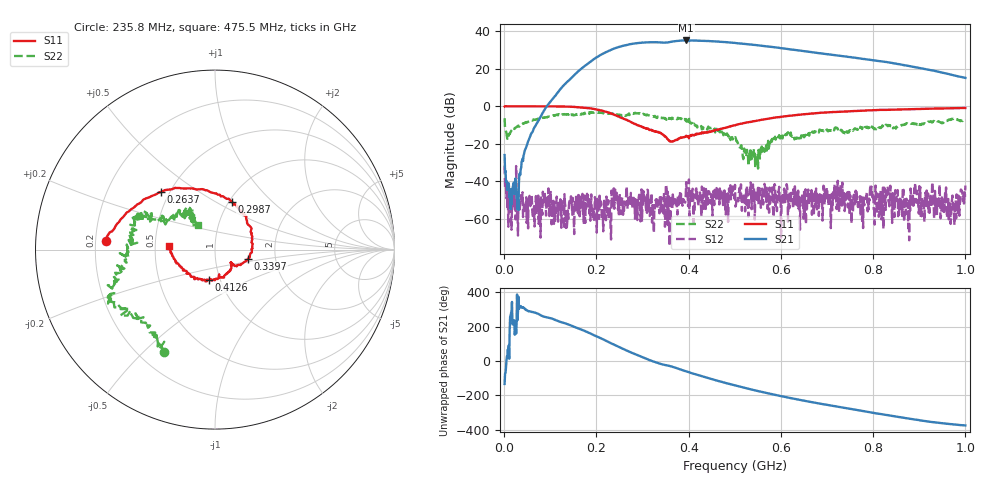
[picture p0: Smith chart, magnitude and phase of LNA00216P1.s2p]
! Created with skrf 1.9.0 (http://scikit-rf.org).
# Hz S RI R 50.0
!freq ReS11 ImS11 ReS21 ImS21 ReS12 ImS12 ReS22 ImS22
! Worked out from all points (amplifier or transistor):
!   1001 points, 1 MHz to 1 GHz, reference 50 ohm
!   highest |S21| = 35.1 dB at 394.6 MHz (marker M1)
!   |S21| within 3 dB of that: 255.6 MHz to 564.9 MHz (309.3 MHz wide, 75.4 % of centre)
!   unconditionally stable (mu >= 1): start of sweep to 87.86 MHz; 241.1 MHz to 394.5 MHz; 400.7 MHz to end of sweep (the widest 3 of 24)
!   at 166.8 MHz: K = 1.35, MAG = 30.6 dB, |S12| = -48.5 dB
!   at 500.5 MHz: K = 1.34, MAG = 34.4 dB, |S12| = -41.9 dB
!   at 1 GHz: K = 1.48, MAG = 24.6 dB, |S12| = -42.3 dB
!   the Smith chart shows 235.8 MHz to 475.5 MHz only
!   S11 on the Smith chart (normalised r, x): 235.8 MHz: 0.24, +0.04; 263.7 MHz: 0.45, +0.36; 298.7 MHz: 1.03, +0.60; 339.7 MHz: 1.44, -0.15; 412.6 MHz: 0.89, -0.31; 475.5 MHz: 0.59, +0.03
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1000000  0.9818 -0.00547  -0.0348 -0.0358  -0.0213 0.0153  0.3433 0.3331
1.07893e8  0.5251 -0.8433  -0.7954 -1.523  0.000221 0.000695  0.4296 -0.3706
1.67833e8  -0.2397 -0.8949  -10.16 -0.4247  -0.00192 -0.000794  0.0463 -0.6321
2.06794e8  -0.6599 -0.4283  -16.09 15.64  0.0041 0.000405  -0.1487 -0.6475
2.35765e8  -0.6075 0.0482  -4.583 33.11  0.000518 -0.00219  -0.2847 -0.5693
2.63737e8  -0.3007 0.3215  19.24 37.71  -0.00318 0.00182  -0.4331 -0.3742
2.98702e8  0.092 0.2668  45.43 19.05  -0.000414 0.000722  -0.5797 -0.246
3.17683e8  0.1947 0.1303  50.73 2.359  -0.00262 0.0014  -0.5358 -0.1309
3.34666e8  0.2054 -0.0157  49.11 -11.92  -0.00184 0.00241  -0.5006 -0.0339
3.39661e8  0.1833 -0.0501  47.61 -15.13  -0.00165 0.000839  -0.4879 0.00886
3.7063e8  0.0925 -0.0798  42.43 -34.09  0.000828 0.0032  -0.4443 0.1617
3.94606e8  0.0502 -0.156  27.41 -49.52  -0.000299 0.00943  -0.4001 0.2165
4.12588e8  -0.0331 -0.1679  13.32 -54.55  0.00102 0.00125  -0.2827 0.1643
4.41559e8  -0.1544 -0.1268  -9.349 -54.04  0.000166 -0.00247  -0.1388 0.2305
4.75525e8  -0.2584 0.0214  -29.71 -42.23  0.00522 -0.00243  -0.0966 0.1377
5.005e8  -0.2712 0.1463  -39.03 -29.44  -0.00766 0.00233  -0.0835 0.1189
5.39461e8  -0.1847 0.3447  -42.58 -8.415  0.00678 -0.00464  -0.0286 0.0454
5.85415e8  0.00986 0.4938  -35.82 10.85  0.0023 -0.00736  -0.1304 -0.0562
6.67333e8  0.4019 0.4959  -13.41 23.83  0.00091 -0.000896  -0.198 -0.0446
7.53247e8  0.6801 0.2822  3.794 19.69  -0.000153 0.000716  -0.2169 -0.00389
8.34166e8  0.8014 0.0102  10.8 9.894  -0.000664 -0.00273  -0.3065 -0.0215
1e9  0.7266 -0.5259  5.463 -1.589  -0.00527 0.00558  -0.3588 0.2269
